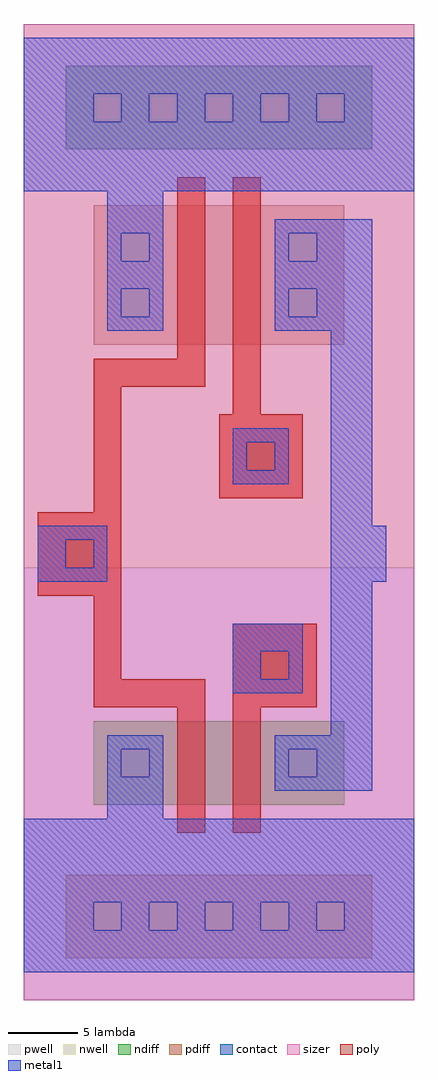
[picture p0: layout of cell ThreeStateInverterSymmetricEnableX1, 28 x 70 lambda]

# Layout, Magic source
magic
tech LibreSilicon-test000-concept-mg-70-7
<< sizer >>
rect 0 0 28 70
<< metal1 >>
rect 0 65 28 69
rect 0 63 5 65
rect 7 63 9 65
rect 11 63 13 65
rect 15 63 17 65
rect 19 63 21 65
rect 23 63 28 65
rect 0 58 28 63
rect 6 55 10 58
rect 18 55 25 56
rect 6 53 7 55
rect 9 53 10 55
rect 18 53 19 55
rect 21 53 25 55
rect 6 51 10 53
rect 18 51 25 53
rect 6 49 7 51
rect 9 49 10 51
rect 18 49 19 51
rect 21 49 25 51
rect 6 48 10 49
rect 18 48 25 49
rect 22 34 25 48
rect 15 40 19 41
rect 15 38 16 40
rect 18 38 19 40
rect 15 37 19 38
rect 1 33 6 34
rect 22 30 26 34
rect 1 31 3 33
rect 5 31 6 33
rect 1 30 6 31
rect 22 19 25 30
rect 15 25 20 27
rect 15 23 17 25
rect 19 23 20 25
rect 15 22 20 23
rect 6 18 10 19
rect 18 18 25 19
rect 6 16 7 18
rect 9 16 10 18
rect 18 16 19 18
rect 21 16 25 18
rect 6 13 10 16
rect 18 15 25 16
rect 0 7 28 13
rect 0 5 5 7
rect 7 5 9 7
rect 11 5 13 7
rect 15 5 17 7
rect 19 5 21 7
rect 23 5 28 7
rect 0 2 28 5
<< contact >>
rect 5 63 7 65
rect 9 63 11 65
rect 13 63 15 65
rect 17 63 19 65
rect 21 63 23 65
rect 7 53 9 55
rect 19 53 21 55
rect 7 49 9 51
rect 19 49 21 51
rect 16 38 18 40
rect 3 31 5 33
rect 17 23 19 25
rect 7 16 9 18
rect 19 16 21 18
rect 5 5 7 7
rect 9 5 11 7
rect 13 5 15 7
rect 17 5 19 7
rect 21 5 23 7
<< poly >>
rect 11 46 13 59
rect 15 42 17 59
rect 5 44 13 46
rect 5 35 7 44
rect 14 36 20 42
rect 1 29 7 35
rect 5 23 7 29
rect 15 21 21 27
rect 5 21 13 23
rect 11 12 13 21
rect 15 12 17 21
<< ndiff >>
rect 3 61 25 67
rect 5 14 23 20
<< pdiff >>
rect 5 47 23 57
rect 3 3 25 9
<< nwell >>
rect 0 31 28 70
<< pwell >>
rect 0 0 28 31
<< end >>
